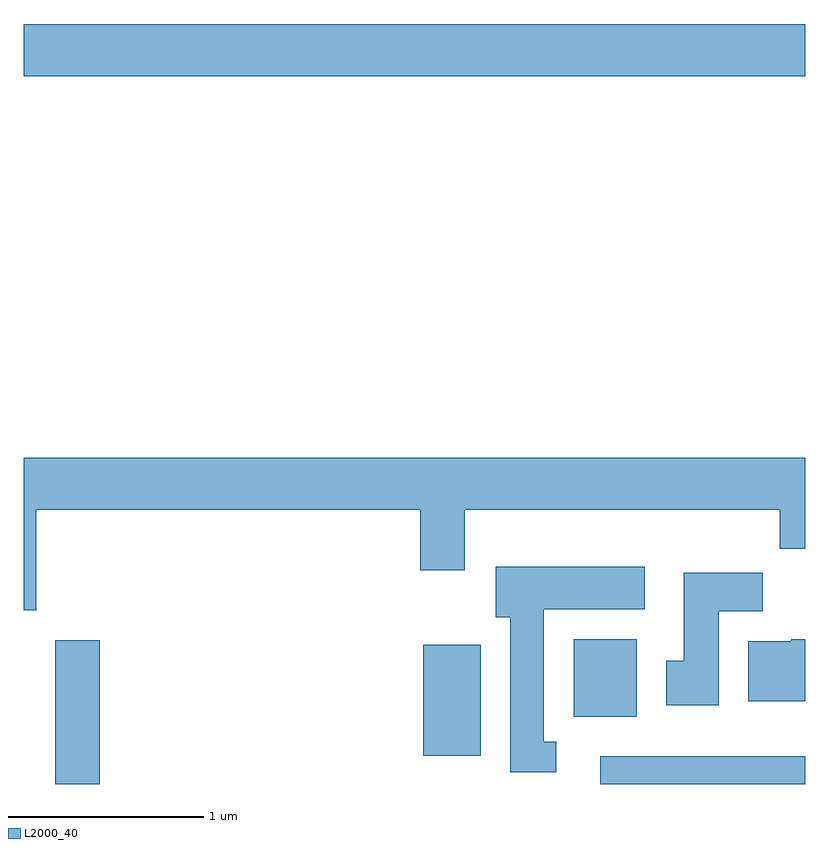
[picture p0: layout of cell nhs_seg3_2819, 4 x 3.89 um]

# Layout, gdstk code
import gdstk
lib = gdstk.Library(unit=1e-6, precision=1e-09)
def R(c, l, rs):  # rectangles x0, y0, x1, y1
    for r in rs: c.add(gdstk.rectangle(r[:2], r[2:], *l))
def P(c, l, *ps):  # polygons
    for p in ps: c.add(gdstk.Polygon(p, *l))
L2000_40 = (2000, 40)

nhs_seg3_2819 = lib.new_cell('nhs_seg3_2819')
R(nhs_seg3_2819, L2000_40, [(267.771,1177.892,267.999,1178.629), (270.561,1177.892,271.611,1178.034), (269.656,1178.036,269.949,1178.604), (270.426,1178.236,270.749,1178.634), (267.611,1181.516,271.611,1181.784)])
P(nhs_seg3_2819, L2000_40, [(267.674,1179.296),(269.641,1179.296),(269.641,1178.986),(269.869,1178.986),(269.869,1179.296),(271.481,1179.296),(271.481,1179.096),(271.611,1179.096),(271.611,1179.564),(267.611,1179.564),(267.611,1178.781),(267.674,1178.781)],
  [(270.338,1178.109),(270.274,1178.109),(270.274,1178.786),(270.789,1178.786),(270.789,1179.004),(270.026,1179.004),(270.026,1178.746),(270.101,1178.746),(270.101,1177.951),(270.338,1177.951)],
  [(271.169,1178.776),(271.394,1178.776),(271.394,1178.974),(270.991,1178.974),(270.991,1178.524),(270.901,1178.524),(270.901,1178.296),(271.169,1178.296)],
  [(271.611,1178.634),(271.54,1178.634),(271.54,1178.624),(271.321,1178.624),(271.321,1178.316),(271.611,1178.316)])

lib.write_gds('nhs_seg3_2819.gds')
